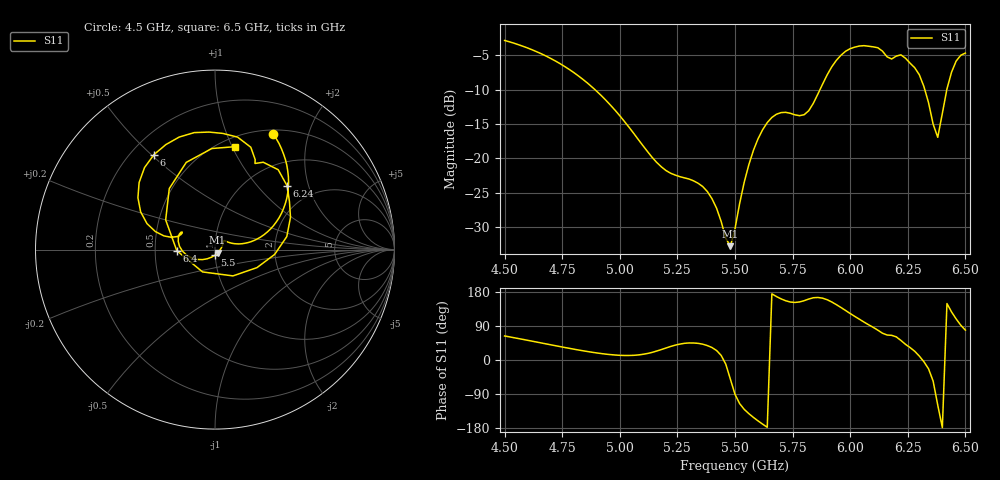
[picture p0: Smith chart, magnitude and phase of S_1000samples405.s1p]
! TOUCHSTONE file generated by CST MICROWAVE STUDIO
! Date and time: Fri Oct 28 01:35:29 2022
! Project name: L.cst
! Parameters = {Di=1.27; Epsilon_r=1.56; InnerDiameter=1.27; Length=2; Lf=10; Lg=60; OuterConductorThickness=0.2921; OuterDiameter=3.6; Wf=3; Wp=41.2; de=1.5; df=6.8; g=0.8; gx=1.72173; gy=2.36117; h=2.34; hf=1.524; px=13.0726; py=10.8098; w=9.7; wx=11.3509; wy=8.44866}
! Header version: 2018
! Port assignment regex: !\s*Touchstone port\s*([0-9]+)\s*=\s*(CST MWS port|CST DS port)\s*([0-9]+|Zmin|Zmax)\s*\(\"(.*)\"\)(\s*mode\s*([0-9]+))?.*
! Touchstone port assignment:
! Touchstone port 1 = CST MWS port 1 ("")
# GHz S DB R 50
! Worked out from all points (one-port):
!   101 points, 4.5 GHz to 6.5 GHz, reference 50 ohm
!   lowest |S11| = -32.8 dB at 5.48 GHz (marker M1), VSWR 1.05, Z = 51.4 - j1.83 ohm
!   |S11| at or under -10 dB: 4.893 GHz to 5.869 GHz (976.1 MHz wide, 18.1 % of centre); 6.324 GHz to 6.419 GHz (95.37 MHz wide, 1.5 % of centre)
!   S11 on the Smith chart (normalised r, x): 4.5 GHz: 0.55, +1.48; 5.5 GHz: 1.00, -0.06; 6 GHz: 0.29, +0.51; 6.24 GHz: 1.48, +1.47; 6.4 GHz: 0.65, -0.01; 6.5 GHz: 0.59, +1.03
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4.5  -2.82 63.4
4.76  -6.60 33.2
5  -13.79 12.3
5.16  -20.58 23.6
5.26  -22.65 41.9
5.38  -24.83 38.0
5.48  -32.78 -50.7
5.5  -30.25 -90.6
5.56  -20.92 -141.6
5.62  -15.82 -169.3
5.68  -13.57 167.4
5.76  -13.65 151.9
5.82  -13.06 160.9
5.88  -9.20 163.2
5.94  -5.72 146.1
6  -4.02 122.7
6.1  -3.76 86.2
6.14  -4.38 70.7
6.18  -5.53 65.1
6.24  -5.41 41.4
6.26  -6.14 32.8
6.32  -9.54 -4.6
6.36  -15.01 -55.6
6.38  -16.93 -119.0
6.4  -13.44 -178.4
6.44  -7.43 126.8
6.46  -5.82 108.2
6.5  -4.66 78.8
